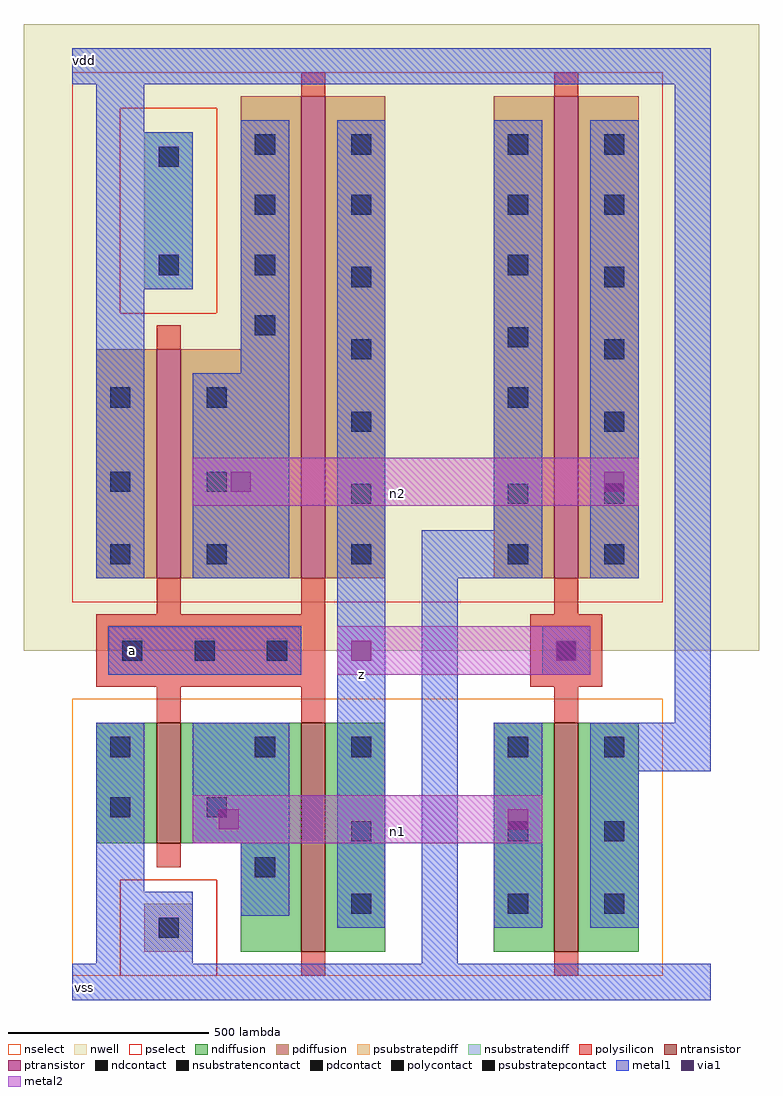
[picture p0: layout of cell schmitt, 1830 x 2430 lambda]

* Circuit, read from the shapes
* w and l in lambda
.subckt schmitt z a vdd vss
M1 n1 a vss vss nfet w=300 l=60
M2 z a n1 vss nfet w=570 l=60
M3 vdd z n1 vss nfet w=570 l=60
M4 n2 a vdd vdd pfet w=570 l=60
M5 z a n2 vdd pfet w=1200 l=60
M6 n2 z vss vdd pfet w=1200 l=60
.ends

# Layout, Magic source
magic
tech amic5n
<< nwell >>
rect -270 750 1560 2310
<< nselect >>
rect -30 1590 210 2100
rect -150 180 1320 630
rect -150 -60 -30 180
rect 210 -60 1320 180
<< pselect >>
rect -150 2100 1320 2190
rect -150 1590 -30 2100
rect 210 1590 1320 2100
rect -150 870 1320 1590
rect -30 -60 210 180
<< ntransistor >>
rect 60 270 120 570
rect 420 0 480 570
rect 1050 0 1110 570
<< ptransistor >>
rect 60 930 120 1500
rect 420 930 480 2130
rect 1050 930 1110 2130
<< ndiffusion >>
rect -90 270 60 570
rect 120 270 420 570
rect 270 0 420 270
rect 480 0 630 570
rect 900 0 1050 570
rect 1110 0 1260 570
<< pdiffusion >>
rect 270 1500 420 2130
rect -90 930 60 1500
rect 120 930 420 1500
rect 480 930 630 2130
rect 900 930 1050 2130
rect 1110 930 1260 2130
<< psubstratepdiff >>
rect 30 0 150 120
<< nsubstratendiff >>
rect 30 1650 150 2040
<< polysilicon >>
rect 420 2130 480 2190
rect 1050 2130 1110 2190
rect 60 1500 120 1560
rect 60 840 120 930
rect 420 840 480 930
rect 1050 840 1110 930
rect -90 660 480 840
rect 990 660 1170 840
rect 60 570 120 660
rect 420 570 480 660
rect 1050 570 1110 660
rect 60 210 120 270
rect 420 -60 480 0
rect 1050 -60 1110 0
<< nsubstratencontact >>
rect 65 1955 115 2005
<< pdcontact >>
rect 305 1985 355 2035
<< pdcontact >>
rect 545 1985 595 2035
<< pdcontact >>
rect 935 1985 985 2035
<< pdcontact >>
rect 1175 1985 1225 2035
<< pdcontact >>
rect 305 1835 355 1885
<< pdcontact >>
rect 545 1835 595 1885
<< pdcontact >>
rect 935 1835 985 1885
<< pdcontact >>
rect 1175 1835 1225 1885
<< nsubstratencontact >>
rect 65 1685 115 1735
<< pdcontact >>
rect 305 1685 355 1735
<< pdcontact >>
rect 545 1655 595 1705
<< pdcontact >>
rect 935 1685 985 1735
<< pdcontact >>
rect 1175 1655 1225 1705
<< pdcontact >>
rect 305 1535 355 1585
<< pdcontact >>
rect 545 1475 595 1525
<< pdcontact >>
rect 935 1505 985 1555
<< pdcontact >>
rect 1175 1475 1225 1525
<< pdcontact >>
rect -55 1355 -5 1405
<< pdcontact >>
rect 185 1355 235 1405
<< pdcontact >>
rect 935 1355 985 1405
<< pdcontact >>
rect 545 1295 595 1345
<< pdcontact >>
rect 1175 1295 1225 1345
<< pdcontact >>
rect -55 1145 -5 1195
<< pdcontact >>
rect 185 1145 235 1195
<< pdcontact >>
rect 545 1115 595 1165
<< pdcontact >>
rect 935 1115 985 1165
<< pdcontact >>
rect 1175 1115 1225 1165
<< pdcontact >>
rect -55 965 -5 1015
<< pdcontact >>
rect 185 965 235 1015
<< pdcontact >>
rect 545 965 595 1015
<< pdcontact >>
rect 935 965 985 1015
<< pdcontact >>
rect 1175 965 1225 1015
<< polycontact >>
rect -25 725 25 775
<< polycontact >>
rect 155 725 205 775
<< polycontact >>
rect 335 725 385 775
<< polycontact >>
rect 1055 725 1105 775
<< ndcontact >>
rect -55 485 -5 535
<< ndcontact >>
rect 305 485 355 535
<< ndcontact >>
rect 545 485 595 535
<< ndcontact >>
rect 935 485 985 535
<< ndcontact >>
rect 1175 485 1225 535
<< ndcontact >>
rect -55 335 -5 385
<< ndcontact >>
rect 185 335 235 385
<< ndcontact >>
rect 545 275 595 325
<< ndcontact >>
rect 935 275 985 325
<< ndcontact >>
rect 1175 275 1225 325
<< ndcontact >>
rect 305 185 355 235
<< ndcontact >>
rect 545 95 595 145
<< ndcontact >>
rect 935 95 985 145
<< ndcontact >>
rect 1175 95 1225 145
<< psubstratepcontact >>
rect 65 35 115 85
<< metal1 >>
rect -150 2160 1440 2250
rect -90 2040 30 2160
rect -90 1650 150 2040
rect -90 930 30 1650
rect 270 1440 390 2070
rect 150 930 390 1440
rect -60 690 420 810
rect -90 150 30 570
rect 150 270 390 570
rect -90 -30 150 150
rect 270 90 390 270
rect 510 60 630 2070
rect 900 1050 1020 2070
rect 720 930 1020 1050
rect 1140 930 1260 2070
rect 720 -30 810 930
rect 1020 690 1140 810
rect 1350 570 1440 2160
rect 900 60 1020 570
rect 1140 450 1440 570
rect 1140 60 1260 450
rect -150 -120 1440 -30
<< metal2 >>
rect 150 1110 1260 1230
rect 510 690 1140 810
rect 150 270 1020 390
<< via1 >>
rect 245 1145 295 1195
rect 1175 1145 1225 1195
rect 545 725 595 775
rect 1055 725 1105 775
rect 215 305 265 355
rect 935 305 985 355
<< labels >>
flabel metal1 s 0 750 0 750 2 FreeSans 400 0 0 0 a
port 2 ne
flabel metal1 s -120 -90 -120 -90 2 FreeSans 400 0 0 0 vss
port 4 ne
flabel metal1 s -120 2220 -120 2220 2 FreeSans 400 0 0 0 vdd
port 3 ne
flabel metal1 s 570 690 570 690 2 FreeSans 400 0 0 0 z
port 1 ne
flabel metal2 s 660 300 660 300 2 FreeSans 400 0 0 0 n1
flabel metal2 s 660 1140 660 1140 2 FreeSans 400 0 0 0 n2
<< end >>
